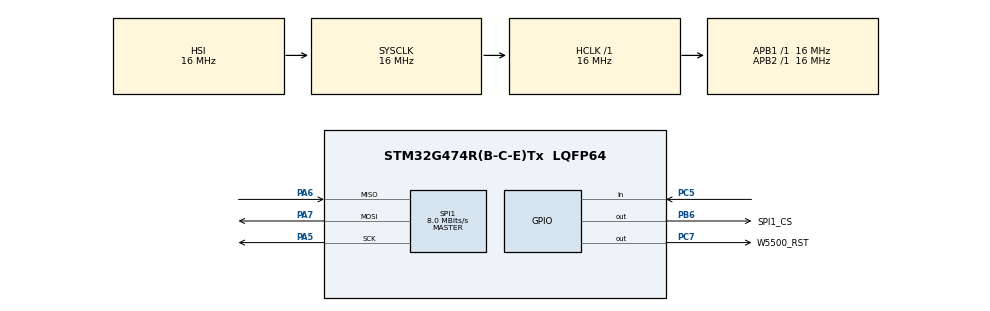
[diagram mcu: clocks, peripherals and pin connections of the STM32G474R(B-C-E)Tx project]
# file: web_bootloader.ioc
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Mcu.Family=STM32G4
Mcu.Name=STM32G474R(B-C-E)Tx
Mcu.Package=LQFP64
NVIC.PriorityGroup=NVIC_PRIORITYGROUP_4
PA13.Mode=Serial_Wire
PA13.Signal=SYS_JTMS-SWDIO
PA14.Mode=Serial_Wire
PA14.Signal=SYS_JTCK-SWCLK
PA5.Mode=Full_Duplex_Master
PA5.Signal=SPI1_SCK
PA6.Mode=Full_Duplex_Master
PA6.Signal=SPI1_MISO
PA7.Mode=Full_Duplex_Master
PA7.Signal=SPI1_MOSI
PB6.GPIO_Label=SPI1_CS
PB6.Signal=GPIO_Output
PC5.GPIO_PuPd=GPIO_PULLUP
PC5.Signal=GPIO_Input
PC7.GPIO_Label=W5500_RST
PC7.Signal=GPIO_Output
ProjectManager.HeapSize=0x200
ProjectManager.StackSize=0x400
ProjectManager.TargetToolchain=STM32CubeIDE
RCC.AHBFreq_Value=16000000
RCC.APB1Freq_Value=16000000
RCC.APB1TimFreq_Value=16000000
RCC.APB2Freq_Value=16000000
RCC.APB2TimFreq_Value=16000000
RCC.CortexFreq_Value=16000000
RCC.EXTERNAL_CLOCK_VALUE=12288000
RCC.HCLKFreq_Value=16000000
RCC.HSE_VALUE=8000000
RCC.HSI48_VALUE=48000000
RCC.HSI_VALUE=16000000
RCC.LSE_VALUE=32768
RCC.SYSCLKFreq_VALUE=16000000
RCC.USBFreq_Value=64000000
RCC.VCOOutputFreq_Value=128000000
SPI1.CalculateBaudRate=8.0 MBits/s
SPI1.DataSize=SPI_DATASIZE_8BIT
SPI1.Direction=SPI_DIRECTION_2LINES
SPI1.Mode=SPI_MODE_MASTER
SPI1.VirtualType=VM_MASTER
VP_SYS_VS_DBSignals.Mode=DisableDeadBatterySignals
board=custom

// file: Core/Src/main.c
/* USER CODE BEGIN Header */
/**
  ******************************************************************************
  * @file           : main.c
  * @brief          : Main program body
  ******************************************************************************
  * @attention
  *
  * Copyright (c) 2025 STMicroelectronics.
  * All rights reserved.
  *
  * This software is licensed under terms that can be found in the LICENSE file
  * in the root directory of this software component.
  * If no LICENSE file comes with this software, it is provided AS-IS.
  *
  ******************************************************************************
  */
/* USER CODE END Header */
#include "main.h"

/* USER CODE BEGIN Includes */
#include "W5500/w5500.h"
#include "socket.h"
#include "httpServer.h"
/* USER CODE END Includes */

/* USER CODE BEGIN PD */
#define APPLICATION_ADDRESS 0x8040000
/* USER CODE END PD */

SPI_HandleTypeDef hspi1;

/* USER CODE BEGIN PV */
wiz_NetInfo gSetNetInfo = {
	    .mac  = {0x00, 0x08, 0xdc, 0x11, 0x11, 0x11},
	    .ip   = {192, 168, 0, 15},
	    .sn   = {255, 255, 0, 0},
	    .dhcp = NETINFO_STATIC };

uint8_t buffer_size_tx_rx[16] = {2, 2, 2, 2, 2, 2, 2, 2, 2, 2, 2, 2, 2, 2, 2, 2};

uint8_t http_rx_buff[2048];
uint8_t http_tx_buff[2048];
uint8_t socknumlist[] = {0,1,2};

const uint8_t webpage[] = {
    "<!DOCTYPE html>\n"
    "<html lang=\"en\">\n"
    "<head>\n"
    "    <meta charset=\"UTF-8\">\n"
    "    <meta name=\"viewport\" content=\"width=device-width, initial-scale=1.0\">\n"
    "    <title>Example APP</title>\n"
    "    <style>\n"
    "        body {\n"
    "            font-family: Arial, sans-serif;\n"
    "            text-align: center;\n"
    "            padding: 50px;\n"
    "            background-color: #f4f4f4;\n"
    "        }\n"
    "        h1 {\n"
    "            font-size: 24px;\n"
    "            margin: 0;\n"
    "        }\n"
    "        h2 {\n"
    "            margin: 10px 0 30px;\n"
    "        }\n"
    "        .button-container {\n"
    "            margin: 20px 0;\n"
    "        }\n"
    "        .input-container {\n"
    "            margin: 20px 0;\n"
    "        }\n"
    "        .file-input {\n"
    "            margin: 10px 0;\n"
    "        }\n"
    "        button {\n"
    "            display: block;\n"
    "            margin: 10px auto;\n"
    "        }\n"
    "    </style>\n"
    "</head>\n"
    "<body>\n"
    "    <h1>Example APP</h1>\n"
    "    <h2>Welcome to bootloader</h2>\n"
    "    <div class=\"input-container\">\n"
    "        <input type=\"file\" class=\"file-input\">\n"
    "    </div>\n"
    "    <div class=\"button-container\">\n"
    "        <button type=\"button\">Load firmware</button>\n"
    "        <button id=\"exit-button\" type=\"button\">Exit from bootloader</button>\n"
    "    </div>\n"
    "    <script>\n"
    "        document.getElementById('exit-button').addEventListener('click', function() {\n"
    "            fetch('/exit', {\n"
    "                method: 'POST'\n"
    "            })\n"
    "            .then(response => {\n"
    "                if (response.ok) {\n"
    "                    console.log('Command execute');\n"
    "                } else {\n"
    "                    console.error('Error');\n"
    "                }\n"
    "            });\n"
    "        });\n"
    "    </script>\n"
    "</body>\n"
    "</html>"
};

uint8_t recv_data_buf[64];

typedef void (*pFunction)(void);
uint32_t jump_addr;
pFunction jump_to_app;
/* USER CODE END PV */

void SystemClock_Config(void);
static void MX_GPIO_Init(void);
static void MX_SPI1_Init(void);
/* USER CODE BEGIN PFP */
void 	cris_enter(void);
void 	cris_exit(void);
void 	cs_select(void);
void 	cs_deselect(void);
uint8_t spi_readbyte(void);
void 	spi_writebyte(uint8_t wb);
void 	spi_readburst(uint8_t* pBuf, uint16_t len);
void 	spi_writeburst(uint8_t* pBuf, uint16_t len);
/* USER CODE END PFP */

int main(void)
{

  /* MCU Configuration--------------------------------------------------------*/

  /* Reset of all peripherals, Initializes the Flash interface and the Systick. */
  HAL_Init();

  /* Configure the system clock */
  SystemClock_Config();

  /* Initialize all configured peripherals */
  MX_GPIO_Init();
  MX_SPI1_Init();
  /* USER CODE BEGIN 2 */
  reg_wizchip_cs_cbfunc(cs_select, cs_deselect);
  reg_wizchip_spi_cbfunc(spi_readbyte, spi_writebyte);
  reg_wizchip_cris_cbfunc(cris_enter, cris_exit);
  reg_wizchip_spiburst_cbfunc(spi_readburst, spi_writeburst);

  HAL_GPIO_WritePin(GPIOC, GPIO_PIN_7, GPIO_PIN_RESET);
  HAL_Delay(1);
  HAL_GPIO_WritePin(GPIOC, GPIO_PIN_7, GPIO_PIN_SET);
  HAL_Delay(1600);

  ctlnetwork(CN_SET_NETINFO, (void*)&gSetNetInfo);
  ctlwizchip(CW_INIT_WIZCHIP,(void*)buffer_size_tx_rx);

  socket(0,Sn_MR_TCP,5555,SF_TCP_NODELAY | SF_IO_NONBLOCK);

  httpServer_init(http_tx_buff,http_rx_buff,5,socknumlist);
  reg_httpServer_cbfunc(NULL, NULL);
  reg_httpServer_webContent((uint8_t*)"index.html", (uint8_t*)webpage);

  /* USER CODE END 2 */

  /* Infinite loop */
  while (1)
  {

    /* USER CODE BEGIN 3 */
	  if(HAL_GPIO_ReadPin(GPIOC,GPIO_PIN_5) != GPIO_PIN_RESET) //Если перемычка установлена
	  {
	  	//Выполняем основной код загрузчика
		  asm("nop");
	  }
	  else
	  {
	  	//В противном случае переходим к коду основной программы
		if(((*(uint32_t*)APPLICATION_ADDRESS) & 0x2FFE0000) == 0x20020000)
		{
			jump_addr = *(uint32_t *)(APPLICATION_ADDRESS + 4);
			jump_to_app = (pFunction)jump_addr;
			__set_MSP(*(uint32_t *)APPLICATION_ADDRESS);
			jump_to_app();
		}
		else
		{
			//Здесь можно разместить код, который будет выполняться, если переход
			//к основному приложению не был осуществлён корректно
			asm("nop");
		}
	  }
  }
  /* USER CODE END 3 */
}

void SystemClock_Config(void)
{
  RCC_OscInitTypeDef RCC_OscInitStruct = {0};
  RCC_ClkInitTypeDef RCC_ClkInitStruct = {0};

  /** Configure the main internal regulator output voltage
  */
  HAL_PWREx_ControlVoltageScaling(PWR_REGULATOR_VOLTAGE_SCALE1);

  /** Initializes the RCC Oscillators according to the specified parameters
  * in the RCC_OscInitTypeDef structure.
  */
  RCC_OscInitStruct.OscillatorType = RCC_OSCILLATORTYPE_HSI;
  RCC_OscInitStruct.HSIState = RCC_HSI_ON;
  RCC_OscInitStruct.HSICalibrationValue = RCC_HSICALIBRATION_DEFAULT;
  RCC_OscInitStruct.PLL.PLLState = RCC_PLL_NONE;
  if (HAL_RCC_OscConfig(&RCC_OscInitStruct) != HAL_OK)
  {
    Error_Handler();
  }

  /** Initializes the CPU, AHB and APB buses clocks
  */
  RCC_ClkInitStruct.ClockType = RCC_CLOCKTYPE_HCLK|RCC_CLOCKTYPE_SYSCLK
                              |RCC_CLOCKTYPE_PCLK1|RCC_CLOCKTYPE_PCLK2;
  RCC_ClkInitStruct.SYSCLKSource = RCC_SYSCLKSOURCE_HSI;
  RCC_ClkInitStruct.AHBCLKDivider = RCC_SYSCLK_DIV1;
  RCC_ClkInitStruct.APB1CLKDivider = RCC_HCLK_DIV1;
  RCC_ClkInitStruct.APB2CLKDivider = RCC_HCLK_DIV1;

  if (HAL_RCC_ClockConfig(&RCC_ClkInitStruct, FLASH_LATENCY_0) != HAL_OK)
  {
    Error_Handler();
  }
}

static void MX_SPI1_Init(void)
{

  /* SPI1 parameter configuration*/
  hspi1.Instance = SPI1;
  hspi1.Init.Mode = SPI_MODE_MASTER;
  hspi1.Init.Direction = SPI_DIRECTION_2LINES;
  hspi1.Init.DataSize = SPI_DATASIZE_8BIT;
  hspi1.Init.CLKPolarity = SPI_POLARITY_LOW;
  hspi1.Init.CLKPhase = SPI_PHASE_1EDGE;
  hspi1.Init.NSS = SPI_NSS_SOFT;
  hspi1.Init.BaudRatePrescaler = SPI_BAUDRATEPRESCALER_2;
  hspi1.Init.FirstBit = SPI_FIRSTBIT_MSB;
  hspi1.Init.TIMode = SPI_TIMODE_DISABLE;
  hspi1.Init.CRCCalculation = SPI_CRCCALCULATION_DISABLE;
  hspi1.Init.CRCPolynomial = 7;
  hspi1.Init.CRCLength = SPI_CRC_LENGTH_DATASIZE;
  hspi1.Init.NSSPMode = SPI_NSS_PULSE_ENABLE;
  if (HAL_SPI_Init(&hspi1) != HAL_OK)
  {
    Error_Handler();
  }

}

static void MX_GPIO_Init(void)
{
  GPIO_InitTypeDef GPIO_InitStruct = {0};

  /* GPIO Ports Clock Enable */
  __HAL_RCC_GPIOA_CLK_ENABLE();
  __HAL_RCC_GPIOC_CLK_ENABLE();
  __HAL_RCC_GPIOB_CLK_ENABLE();

  /*Configure GPIO pin Output Level */
  HAL_GPIO_WritePin(W5500_RST_GPIO_Port, W5500_RST_Pin, GPIO_PIN_RESET);

  /*Configure GPIO pin Output Level */
  HAL_GPIO_WritePin(SPI1_CS_GPIO_Port, SPI1_CS_Pin, GPIO_PIN_RESET);

  /*Configure GPIO pin : W5500_RST_Pin */
  GPIO_InitStruct.Pin = W5500_RST_Pin;
  GPIO_InitStruct.Mode = GPIO_MODE_OUTPUT_PP;
  GPIO_InitStruct.Pull = GPIO_NOPULL;
  GPIO_InitStruct.Speed = GPIO_SPEED_FREQ_LOW;
  HAL_GPIO_Init(W5500_RST_GPIO_Port, &GPIO_InitStruct);

  /*Configure GPIO pin : SPI1_CS_Pin */
  GPIO_InitStruct.Pin = SPI1_CS_Pin;
  GPIO_InitStruct.Mode = GPIO_MODE_OUTPUT_PP;
  GPIO_InitStruct.Pull = GPIO_NOPULL;
  GPIO_InitStruct.Speed = GPIO_SPEED_FREQ_LOW;
  HAL_GPIO_Init(SPI1_CS_GPIO_Port, &GPIO_InitStruct);

}

/* USER CODE BEGIN 4 */
void 	cs_select(void)
{
	HAL_GPIO_WritePin(GPIOB, GPIO_PIN_6, RESET);
}

void 	cs_deselect(void)
{
	HAL_GPIO_WritePin(GPIOB, GPIO_PIN_6, SET);
}

void 	cris_enter(void)
{
	__set_PRIMASK(1);
}

void 	cris_exit(void)
{
	__set_PRIMASK(0);
}

uint8_t spi_readbyte(void)
{
	uint8_t data;
	HAL_SPI_Receive(&hspi1,&data,1,100);
	return data;
}

void 	spi_writebyte(uint8_t wb)
{
	HAL_SPI_Transmit(&hspi1,&wb,1,100);
}

void 	spi_readburst(uint8_t* pBuf, uint16_t len)
{
	HAL_SPI_Receive(&hspi1, pBuf, len, HAL_MAX_DELAY);
}

void 	spi_writeburst(uint8_t* pBuf, uint16_t len)
{
	HAL_SPI_Transmit(&hspi1, pBuf, len, HAL_MAX_DELAY);
}
/* USER CODE END 4 */

void Error_Handler(void)
{
  __disable_irq();
  while (1)
  {
  }
}
